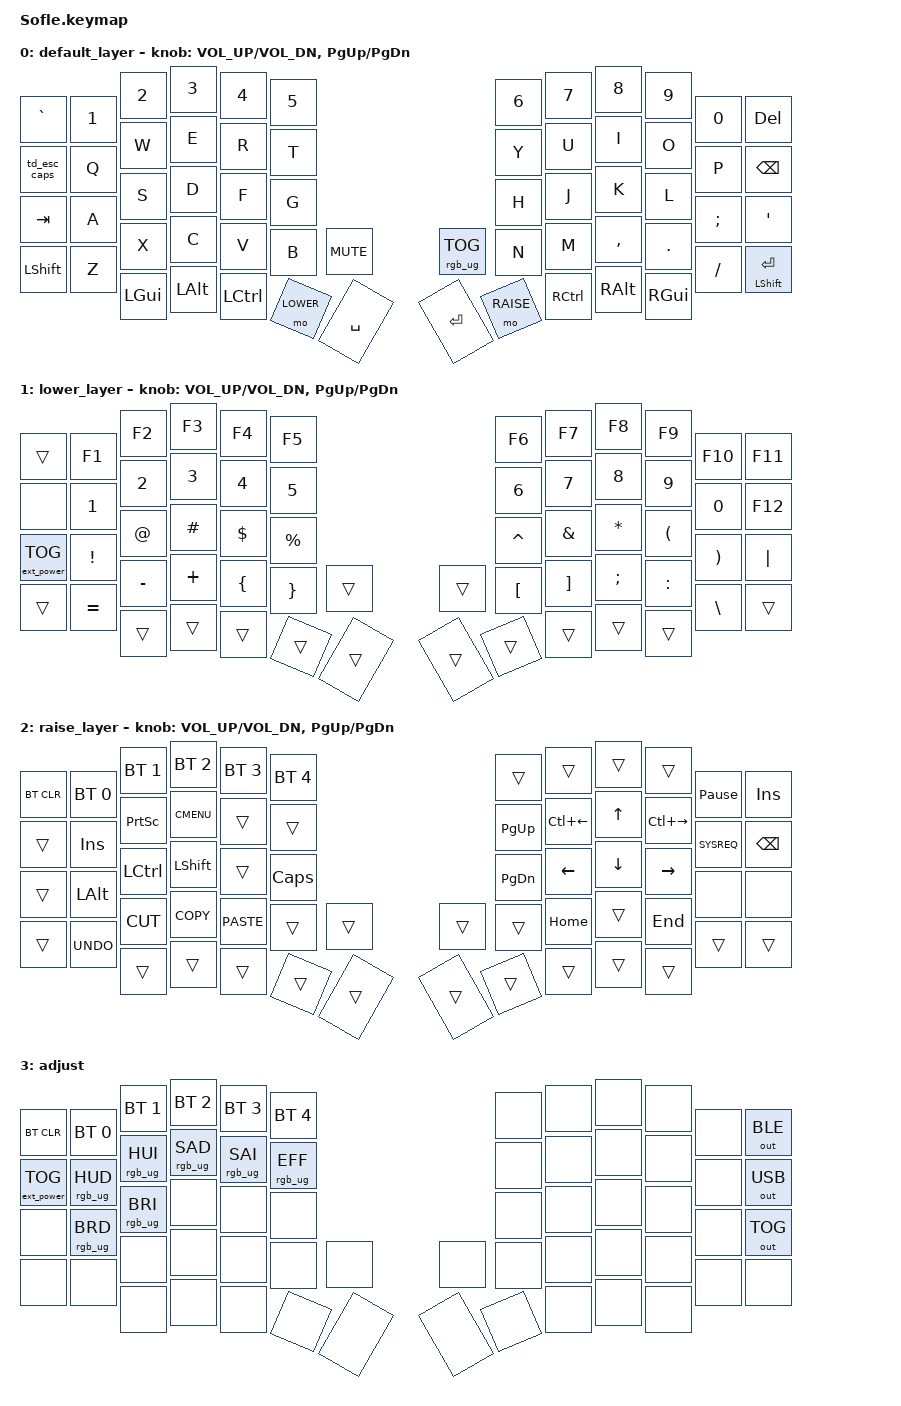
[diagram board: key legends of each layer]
/*
 * Copyright (c) 2020 The ZMK Contributors
 *
 * SPDX-License-Identifier: MIT
 */

#include <behaviors.dtsi>
#include <dt-bindings/zmk/keys.h>
#include <dt-bindings/zmk/bt.h>
#include <dt-bindings/zmk/rgb.h>
#include <dt-bindings/zmk/ext_power.h>
#include <dt-bindings/zmk/outputs.h>

#define BASE 0
#define LOWER 1
#define RAISE 2
#define ADJUST 3
/ {

   // Activate ADJUST layer by pressing raise and lower
    conditional_layers {
        compatible = "zmk,conditional-layers";
        adjust_layer {
            if-layers = <LOWER RAISE>;
            then-layer = <ADJUST>;
        };
    };

    behaviors {
        // Modifies ESCAPE to toggle CAPS_LOCK when double tapped
        td_esc_caps: td_esc_caps {
            compatible = "zmk,behavior-tap-dance";
            #binding-cells = <0>;
            tapping-term-ms = <200>;
            bindings = <&kp ESC>, <&kp CAPS>;
        };
    };

    keymap {
        compatible = "zmk,keymap";   

        default_layer {
// ------------------------------------------------------------------------------------------------------------
// |   `   |  1  |  2  |  3   |  4   |  5   |                   |  6   |  7    |  8    |  9   |   0   |  DEL  |
// |  ESC  |  Q  |  W  |  E   |  R   |  T   |                   |  Y   |  U    |  I    |  O   |   P   | BKSPC |
// |  TAB  |  A  |  S  |  D   |  F   |  G   |                   |  H   |  J    |  K    |  L   |   ;   |   '   |
// | SHIFT |  Z  |  X  |  C   |  V   |  B   |  MUTE  |  |       |  N   |  M    |  ,    |  .   |   /   | SHIFT |
//               | GUI | ALT  | CTRL | LOWER|  SPACE |  | ENTER | RAISE| CTRL  | ALT   | GUI  |
            bindings = <
&kp GRAVE    &kp N1 &kp N2   &kp N3   &kp N4    &kp N5                                     &kp N6 &kp N7    &kp N8    &kp N9   &kp N0   &kp DEL
&td_esc_caps &kp Q  &kp W    &kp E    &kp R     &kp T                                      &kp Y  &kp U     &kp I     &kp O    &kp P    &kp BSPC
&kp TAB      &kp A  &kp S    &kp D    &kp F     &kp G                                      &kp H  &kp J     &kp K     &kp L    &kp SEMI &kp SQT
&kp LSHFT    &kp Z  &kp X    &kp C    &kp V     &kp B      &kp C_MUTE &rgb_ug RGB_TOG      &kp N  &kp M     &kp COMMA &kp DOT  &kp FSLH &mt LSHIFT RET
                    &kp LGUI &kp LALT &kp LCTRL &mo LOWER  &kp SPACE              &kp RET  &mo RAISE  &kp RCTRL &kp RALT  &kp RGUI
            >;

            sensor-bindings = <&inc_dec_kp C_VOL_UP C_VOL_DN &inc_dec_kp PG_UP PG_DN>;
        };

        lower_layer {
// TODO: Some binds are waiting for shifted keycode support.
// ------------------------------------------------------------------------------------------------------------
// |       |  F1 |  F2 |  F3  |  F4  |  F5  |                   |  F6  |  F7   |  F8   |  F9  |  F10  |  F11  |
// |       |  1  |  2  |  3   |  4   |  5   |                   |  6   |  7    |  8    |  9   |   0   |  F12  |
// |       |  !  |  @  |  #   |  $   |  %   |                   |  ^   |  &    |  *    |  (   |   )   |   |   |
// |       |  =  |  -  |  +   |  {   |  }   |        |  |       |  [   |  ]    |  ;    |  :   |   \   |       |
//               |     |      |      |      |        |  |       |      |       |       |      |
            bindings = <
&trans    &kp F1    &kp F2    &kp F3      &kp F4    &kp F5                    &kp F6    &kp F7   &kp F8    &kp F9    &kp F10   &kp F11
&none     &kp N1    &kp N2    &kp N3      &kp N4    &kp N5                    &kp N6    &kp N7   &kp N8    &kp N9    &kp N0    &kp F12
&ext_power EP_TOG    &kp EXCL  &kp AT    &kp HASH    &kp DLLR  &kp PRCNT                 &kp CARET &kp AMPS &kp ASTRK &kp LPAR  &kp RPAR  &kp PIPE
&trans    &kp EQUAL &kp MINUS &kp PLUS &kp LBRC  &kp RBRC   &trans &trans  &kp LBKT  &kp RBKT &kp SEMI  &kp COLON &kp BSLH  &trans
                    &trans    &trans      &trans    &trans     &trans &trans  &trans    &trans   &trans    &trans
            >;

            sensor-bindings = <&inc_dec_kp C_VOL_UP C_VOL_DN &inc_dec_kp PG_UP PG_DN>;
        };

        raise_layer {
// ------------------------------------------------------------------------------------------------------------
// | BTCLR | BT1  | BT2  |  BT3  |  BT4  |  BT5 |                |      |      |       |      | PSBRK | INSERT |
// |       | INS  | PSCR | GUI   |       |      |                | PGUP |PVWORD|   ^   |NXWORD| SYSREQ| BKSPC |
// |       | ALT  | CTRL | SHIFT |       | CAPS |                | PGDN |   <- |   v   |  ->  |       |       |
// |       | UNDO | CUT  | COPY  | PASTE |      |      |  |      |      | HOME |       | END  |       |       |
//                |      |       |       |      |      |  |      |      |      |       |      |
            bindings = <
&bt BT_CLR &bt BT_SEL 0 &bt BT_SEL 1 &bt BT_SEL 2 &bt BT_SEL 3 &bt BT_SEL 4                  &trans    &trans    &trans   &trans    &kp PAUSE_BREAK  &kp INSERT
&trans     &kp INS      &kp PSCRN    &kp K_CMENU  &trans       &trans                        &kp PG_UP &kp LC(LEFT)    &kp UP   &kp LC(RIGHT)        &kp SYSREQ  &kp BSPC
&trans     &kp LALT     &kp LCTRL    &kp LSHFT    &trans       &kp CLCK                      &kp PG_DN &kp LEFT  &kp DOWN &kp RIGHT &none            &none
&trans     &kp K_UNDO   &kp K_CUT    &kp K_COPY   &kp K_PASTE  &trans        &trans  &trans  &trans    &kp HOME  &trans   &kp END   &trans           &trans
                        &trans       &trans       &trans       &trans        &trans  &trans  &trans    &trans    &trans   &trans
            >;

            sensor-bindings = <&inc_dec_kp C_VOL_UP C_VOL_DN &inc_dec_kp PG_UP PG_DN>;
        };

        adjust_layer {
// ----------------------------------------------------------------------------------------------------------------------------
// | BTCLR  |  BT1    |  BT2    |   BT3   |   BT4   |   BT5   |                  |      |      |       |      |       |       |
// | EXTPWR | RGB_HUD | RGB_HUI | RGB_SAD | RGB_SAI | RGB_EFF |                  |      |      |       |      |       |       |
// |        | RGB_BRD | RGB_BRI |         |         |         |                  |      |      |       |      |       |       |
// |        |         |         |         |         |         | RGB_TOG | |      |      |      |       |      |       |       |
//                    |         |         |         |         |         | |      |      |      |       |      |
            display-name = "adjust";
            bindings = <
&bt BT_CLR        &bt BT_SEL 0    &bt BT_SEL 1    &bt BT_SEL 2    &bt BT_SEL 3    &bt BT_SEL 4                            &none &none &none &none &none &out OUT_BLE
&ext_power EP_TOG &rgb_ug RGB_HUD &rgb_ug RGB_HUI &rgb_ug RGB_SAD &rgb_ug RGB_SAI &rgb_ug RGB_EFF                         &none &none &none &none &none &out OUT_USB
&none             &rgb_ug RGB_BRD &rgb_ug RGB_BRI &none           &none           &none                                   &none &none &none &none &none &out OUT_TOG
&none             &none           &none           &none           &none           &none            &none &none  &none &none &none &none &none &none
                                  &none           &none           &none           &none            &none           &none  &none &none &none &none
            >;
        };
        extra1 {
            status = "reserved";
        };
        extra2 {
            status = "reserved";
        };
        extra3 {
            status = "reserved";
        };
        extra4 {
            status = "reserved";
        };

    };
};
